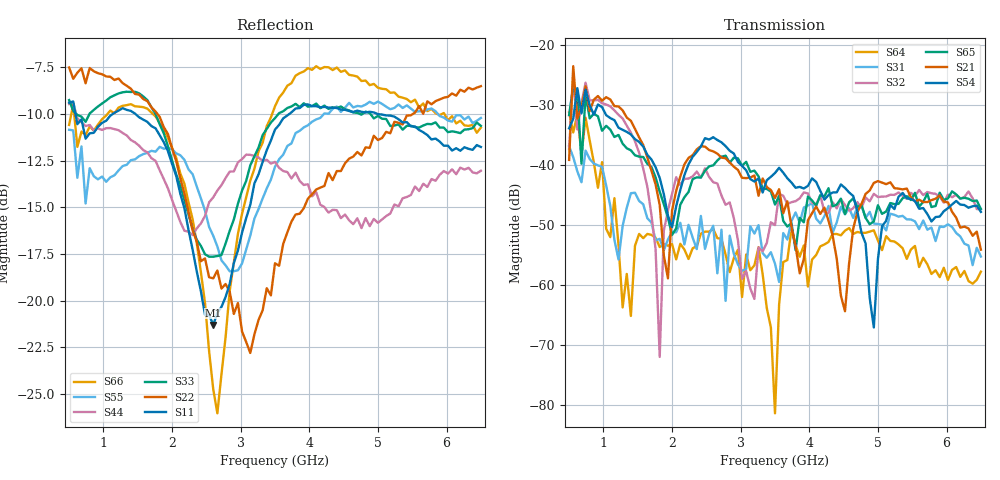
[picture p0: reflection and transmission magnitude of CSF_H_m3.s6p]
!Keysight Technologies,M9804A,MY58100912,A.14.10.03
!Date: Thursday, April 27, 2023 10:28:33
!Correction: S11(C  6-Port  )
!S12(C  6-Port  )
!S13(C  6-Port  )
!S14(C  6-Port  )
!S15(C  6-Port  )
!S16(C  6-Port  )
!S21(C  6-Port  )
!S22(C  6-Port  )
!S23(C  6-Port  )
!S24(C  6-Port  )
!S25(C  6-Port  )
!S26(C  6-Port  )
!S31(C  6-Port  )
!S32(C  6-Port  )
!S33(C  6-Port  )
!S34(C  6-Port  )
!S35(C  6-Port  )
!S36(C  6-Port  )
!S41(C  6-Port  )
!S42(C  6-Port  )
!S43(C  6-Port  )
!S44(C  6-Port  )
!S45(C  6-Port  )
!S46(C  6-Port  )
!S51(C  6-Port  )
!S52(C  6-Port  )
!S53(C  6-Port  )
!S54(C  6-Port  )
!S55(C  6-Port  )
!S56(C  6-Port  )
!S61(C  6-Port  )
!S62(C  6-Port  )
!S63(C  6-Port  )
!S64(C  6-Port  )
!S65(C  6-Port  )
!S66(C  6-Port  )
!S6P File: Measurement: :
# Hz S  RI  R 50
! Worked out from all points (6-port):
!   101 points, 500 MHz to 6.5 GHz, reference 50 ohm
!   strongest paths, dB at 500 MHz, 2 GHz, 3.5 GHz, 5 GHz, 6.5 GHz:
!     S54: -34.0, -50.4, -41.4, -55.8, -47.9
!     S21: -39.2, -47.7, -45.6, -42.8, -54.2
!     S65: -31.8, -51.7, -46.7, -46.8, -47.4
!     S32: -37.4, -44.9, -50.1, -45.4, -47.5
!     S31: -37.0, -51.3, -56.5, -49.9, -55.3
!     S64: -31.3, -53.3, -81.5, -52.7, -57.9
!   lowest |S11| = -21.3 dB at 2.6 GHz (marker M1), VSWR 1.19, Z = 42.4 + j2.31 ohm
!   |S11| at or under -10 dB: 593 MHz to 1.136 GHz (543 MHz wide, 62.8 % of centre); 1.466 GHz to 3.708 GHz (2.241 GHz wide, 86.6 % of centre); 4.996 GHz to end of sweep
